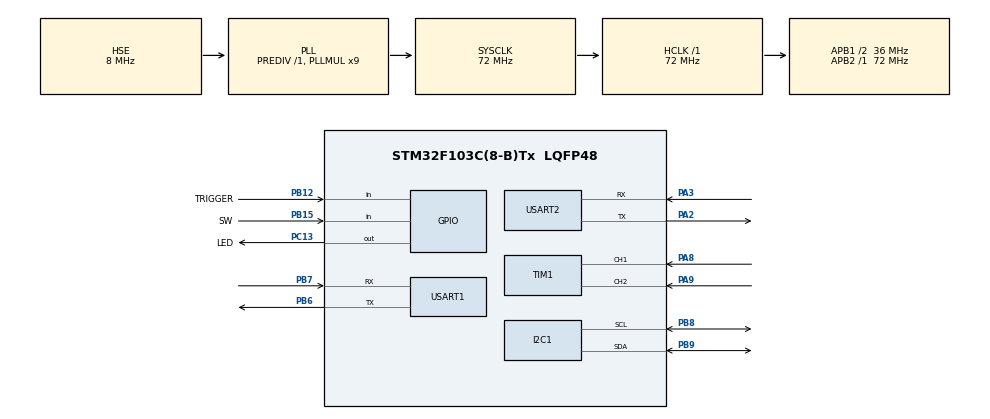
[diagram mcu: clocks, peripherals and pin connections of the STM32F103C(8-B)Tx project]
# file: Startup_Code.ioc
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Mcu.Family=STM32F1
Mcu.Name=STM32F103C(8-B)Tx
Mcu.Package=LQFP48
NVIC.PriorityGroup=NVIC_PRIORITYGROUP_4
PA13.Mode=Serial_Wire
PA13.Signal=SYS_JTMS-SWDIO
PA14.Mode=Serial_Wire
PA14.Signal=SYS_JTCK-SWCLK
PA2.Mode=Asynchronous
PA2.Signal=USART2_TX
PA3.Mode=Asynchronous
PA3.Signal=USART2_RX
PA8.Signal=S_TIM1_CH1
PA9.Signal=S_TIM1_CH2
PB12.GPIO_Label=TRIGGER
PB12.Signal=GPIO_Input
PB15.GPIO_Label=SW
PB15.Signal=GPIO_Input
PB6.Mode=Asynchronous
PB6.Signal=USART1_TX
PB7.Mode=Asynchronous
PB7.Signal=USART1_RX
PB8.Mode=I2C
PB8.Signal=I2C1_SCL
PB9.Mode=I2C
PB9.Signal=I2C1_SDA
PC13-TAMPER-RTC.GPIO_Label=LED
PC13-TAMPER-RTC.Signal=GPIO_Output
PC14-OSC32_IN.Mode=LSE-External-Oscillator
PC14-OSC32_IN.Signal=RCC_OSC32_IN
PC15-OSC32_OUT.Mode=LSE-External-Oscillator
PC15-OSC32_OUT.Signal=RCC_OSC32_OUT
PD0-OSC_IN.Mode=HSE-External-Oscillator
PD0-OSC_IN.Signal=RCC_OSC_IN
PD1-OSC_OUT.Mode=HSE-External-Oscillator
PD1-OSC_OUT.Signal=RCC_OSC_OUT
ProjectManager.HeapSize=0x200
ProjectManager.StackSize=0x400
ProjectManager.TargetToolchain=SW4STM32
RCC.AHBFreq_Value=72000000
RCC.APB1CLKDivider=RCC_HCLK_DIV2
RCC.APB1Freq_Value=36000000
RCC.APB1TimFreq_Value=72000000
RCC.APB2Freq_Value=72000000
RCC.APB2TimFreq_Value=72000000
RCC.HCLKFreq_Value=72000000
RCC.PLLMUL=RCC_PLL_MUL9
RCC.PLLSourceVirtual=RCC_PLLSOURCE_HSE
RCC.SYSCLKFreq_VALUE=72000000
RCC.SYSCLKSource=RCC_SYSCLKSOURCE_PLLCLK
RCC.USBFreq_Value=72000000
SH.S_TIM1_CH1.0=TIM1_CH1,Encoder_Interface
SH.S_TIM1_CH2.0=TIM1_CH2,Encoder_Interface
TIM1.EncoderMode=TIM_ENCODERMODE_TI12
USART1.VirtualMode=VM_ASYNC
USART2.VirtualMode=VM_ASYNC
board=custom

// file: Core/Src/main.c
/* USER CODE BEGIN Header */
/**
  ******************************************************************************
  * @file           : main.c
  * @brief          : Main program body
  ******************************************************************************
  * @attention
  *
  * <h2><center>&copy; Copyright (c) 2021 STMicroelectronics.
  * All rights reserved.</center></h2>
  *
  * This software component is licensed by ST under BSD 3-Clause license,
  * the "License"; You may not use this file except in compliance with the
  * License. You may obtain a copy of the License at:
  *                        opensource.org/licenses/BSD-3-Clause
  *
  ******************************************************************************
  */
/* USER CODE END Header */
#include "main.h"

/* USER CODE BEGIN Includes */
#include "OLED.h"
//#include "Images.h"
/* USER CODE END Includes */

/* USER CODE BEGIN PD */
#define AantalRotaties 8
/* USER CODE END PD */

I2C_HandleTypeDef hi2c1;

TIM_HandleTypeDef htim1;

UART_HandleTypeDef huart1;
UART_HandleTypeDef huart2;

/* USER CODE BEGIN PV */
#include <errno.h>
#include <sys/stat.h>
#include <sys/times.h>
#include <sys/unistd.h>
int _write(int file, char *ptr, int len) {
    HAL_StatusTypeDef xStatus;
    switch (file) {
    case STDOUT_FILENO: /*stdout*/
		xStatus = HAL_UART_Transmit(&huart2, (uint8_t*)ptr, len, HAL_MAX_DELAY);
		if (xStatus != HAL_OK) {
			errno = EIO;
			return -1;
		}
        break;
    case STDERR_FILENO: /* stderr */
		xStatus = HAL_UART_Transmit(&huart2, (uint8_t*)ptr, len, HAL_MAX_DELAY);
		if (xStatus != HAL_OK) {
			errno = EIO;
			return -1;
		}
        break;
    default:
        errno = EBADF;
        return -1;
    }
    return len;
}

volatile uint32_t tim1_cnt = 0;
volatile uint32_t direction;
/* USER CODE END PV */

void SystemClock_Config(void);
static void MX_GPIO_Init(void);
static void MX_I2C1_Init(void);
static void MX_TIM1_Init(void);
static void MX_USART2_UART_Init(void);
static void MX_USART1_UART_Init(void);

int main(void)
{

  /* MCU Configuration--------------------------------------------------------*/

  /* Reset of all peripherals, Initializes the Flash interface and the Systick. */
  HAL_Init();

  /* Configure the system clock */
  SystemClock_Config();

  /* Initialize all configured peripherals */
  MX_GPIO_Init();
  MX_I2C1_Init();
  MX_TIM1_Init();
  MX_USART2_UART_Init();
  MX_USART1_UART_Init();
  /* USER CODE BEGIN 2 */
  printf("Start Program \n\r");
    HAL_GPIO_WritePin(LED_GPIO_Port,LED_Pin,0);
    printf("Led aan \n\r");
    HAL_Delay(1000);

    uint8_t k;
    k = OLED_Init();
    if(k == 0)
    {
  	  HAL_GPIO_WritePin(LED_GPIO_Port,LED_Pin,1);//led uit
  	  printf("OLED IS NIET KLAAR!!!\n\r");
  	  HAL_Delay(1000);
    }
    else
    {
  	  printf("APPARAAT GEVONDEN!\r\n");
    }

    HAL_TIM_Encoder_Start(&htim1, TIM_CHANNEL_ALL);
    uint32_t rot_count = 0;
    uint8_t Select0 = 0;
    OLED_Clear();

    WelcomeScreen();

    while(HAL_GPIO_ReadPin(SW_GPIO_Port,SW_Pin) == 1 )
    {

    	//loop
    }
    OLED_Clear();
    DisplayMenu(Select0);
    OLED_UpdateScreen();

  /* USER CODE END 2 */

  /* Infinite loop */
  while (1)
  {

    /* USER CODE BEGIN 3 */

	  tim1_cnt = (htim1.Instance->CNT)/AantalRotaties;

	  if(rot_count != tim1_cnt)
	  {
		  if(rot_count > tim1_cnt)
		  {
			  Select0++;
			  if(Select0 > 3)
			  {
				  Select0 = 3;
			  }
		  }
		  else
		  {
			  Select0--;
			  if(Select0 < 0)
			  {
				  Select0 = 0;
			  }
		  }
		  rot_count = tim1_cnt;
		  //Displayen van een nieuw scherm want rotary waarde is veranderd
		  OLED_Fill(OLED_BLACK);
		  DisplayMenu(Select0);
		  OLED_UpdateScreen();
	  }

	  if(HAL_GPIO_ReadPin(SW_GPIO_Port, SW_Pin ) != 1 && Select0 != 0)
	  {
		  switch (Select0)
		  {
		  case 1:
			  //Optie 1 is gekozen
			  while(HAL_GPIO_ReadPin(SW_GPIO_Port,SW_Pin) == 1)
			  {
				  //Wanneer de switch button nogmaals wordt ingedrukt gaan we terug uit de optie
			  	  ShowGamePlayMenu();
			  }
			  break;
		  case 2:
			  //Optie 2 is gekozen
			  while(HAL_GPIO_ReadPin(SW_GPIO_Port,SW_Pin) == 1)
			  {
				  //Wanneer de switch button nogmaals wordt ingedrukt gaan we terug uit de optie

			  }
			  break;
		  case 3:
			  //Optie 3 is gekozen
			  while(HAL_GPIO_ReadPin(SW_GPIO_Port,SW_Pin) == 1)
			  {
				  //Wanneer de switch button nogmaals wordt ingedrukt gaan we terug uit de optie

			  }
			  break;
		  default:
			  //ERROR, mag eigenlijk niet voorkomen
			  break;
		  }

	  }
  }
  /* USER CODE END 3 */
}

void SystemClock_Config(void)
{
  RCC_OscInitTypeDef RCC_OscInitStruct = {0};
  RCC_ClkInitTypeDef RCC_ClkInitStruct = {0};

  /** Initializes the RCC Oscillators according to the specified parameters
  * in the RCC_OscInitTypeDef structure.
  */
  RCC_OscInitStruct.OscillatorType = RCC_OSCILLATORTYPE_HSE;
  RCC_OscInitStruct.HSEState = RCC_HSE_ON;
  RCC_OscInitStruct.HSEPredivValue = RCC_HSE_PREDIV_DIV1;
  RCC_OscInitStruct.HSIState = RCC_HSI_ON;
  RCC_OscInitStruct.PLL.PLLState = RCC_PLL_ON;
  RCC_OscInitStruct.PLL.PLLSource = RCC_PLLSOURCE_HSE;
  RCC_OscInitStruct.PLL.PLLMUL = RCC_PLL_MUL9;
  if (HAL_RCC_OscConfig(&RCC_OscInitStruct) != HAL_OK)
  {
    Error_Handler();
  }
  /** Initializes the CPU, AHB and APB buses clocks
  */
  RCC_ClkInitStruct.ClockType = RCC_CLOCKTYPE_HCLK|RCC_CLOCKTYPE_SYSCLK
                              |RCC_CLOCKTYPE_PCLK1|RCC_CLOCKTYPE_PCLK2;
  RCC_ClkInitStruct.SYSCLKSource = RCC_SYSCLKSOURCE_PLLCLK;
  RCC_ClkInitStruct.AHBCLKDivider = RCC_SYSCLK_DIV1;
  RCC_ClkInitStruct.APB1CLKDivider = RCC_HCLK_DIV2;
  RCC_ClkInitStruct.APB2CLKDivider = RCC_HCLK_DIV1;

  if (HAL_RCC_ClockConfig(&RCC_ClkInitStruct, FLASH_LATENCY_2) != HAL_OK)
  {
    Error_Handler();
  }
}

static void MX_I2C1_Init(void)
{

  hi2c1.Instance = I2C1;
  hi2c1.Init.ClockSpeed = 100000;
  hi2c1.Init.DutyCycle = I2C_DUTYCYCLE_2;
  hi2c1.Init.OwnAddress1 = 0;
  hi2c1.Init.AddressingMode = I2C_ADDRESSINGMODE_7BIT;
  hi2c1.Init.DualAddressMode = I2C_DUALADDRESS_DISABLE;
  hi2c1.Init.OwnAddress2 = 0;
  hi2c1.Init.GeneralCallMode = I2C_GENERALCALL_DISABLE;
  hi2c1.Init.NoStretchMode = I2C_NOSTRETCH_DISABLE;
  if (HAL_I2C_Init(&hi2c1) != HAL_OK)
  {
    Error_Handler();
  }

}

static void MX_TIM1_Init(void)
{

  TIM_Encoder_InitTypeDef sConfig = {0};
  TIM_MasterConfigTypeDef sMasterConfig = {0};

  htim1.Instance = TIM1;
  htim1.Init.Prescaler = 0;
  htim1.Init.CounterMode = TIM_COUNTERMODE_UP;
  htim1.Init.Period = 65535;
  htim1.Init.ClockDivision = TIM_CLOCKDIVISION_DIV1;
  htim1.Init.RepetitionCounter = 0;
  htim1.Init.AutoReloadPreload = TIM_AUTORELOAD_PRELOAD_DISABLE;
  sConfig.EncoderMode = TIM_ENCODERMODE_TI12;
  sConfig.IC1Polarity = TIM_ICPOLARITY_RISING;
  sConfig.IC1Selection = TIM_ICSELECTION_DIRECTTI;
  sConfig.IC1Prescaler = TIM_ICPSC_DIV1;
  sConfig.IC1Filter = 0;
  sConfig.IC2Polarity = TIM_ICPOLARITY_RISING;
  sConfig.IC2Selection = TIM_ICSELECTION_DIRECTTI;
  sConfig.IC2Prescaler = TIM_ICPSC_DIV1;
  sConfig.IC2Filter = 0;
  if (HAL_TIM_Encoder_Init(&htim1, &sConfig) != HAL_OK)
  {
    Error_Handler();
  }
  sMasterConfig.MasterOutputTrigger = TIM_TRGO_RESET;
  sMasterConfig.MasterSlaveMode = TIM_MASTERSLAVEMODE_DISABLE;
  if (HAL_TIMEx_MasterConfigSynchronization(&htim1, &sMasterConfig) != HAL_OK)
  {
    Error_Handler();
  }

}

static void MX_USART1_UART_Init(void)
{

  huart1.Instance = USART1;
  huart1.Init.BaudRate = 115200;
  huart1.Init.WordLength = UART_WORDLENGTH_8B;
  huart1.Init.StopBits = UART_STOPBITS_1;
  huart1.Init.Parity = UART_PARITY_NONE;
  huart1.Init.Mode = UART_MODE_TX_RX;
  huart1.Init.HwFlowCtl = UART_HWCONTROL_NONE;
  huart1.Init.OverSampling = UART_OVERSAMPLING_16;
  if (HAL_UART_Init(&huart1) != HAL_OK)
  {
    Error_Handler();
  }

}

static void MX_USART2_UART_Init(void)
{

  huart2.Instance = USART2;
  huart2.Init.BaudRate = 115200;
  huart2.Init.WordLength = UART_WORDLENGTH_8B;
  huart2.Init.StopBits = UART_STOPBITS_1;
  huart2.Init.Parity = UART_PARITY_NONE;
  huart2.Init.Mode = UART_MODE_TX_RX;
  huart2.Init.HwFlowCtl = UART_HWCONTROL_NONE;
  huart2.Init.OverSampling = UART_OVERSAMPLING_16;
  if (HAL_UART_Init(&huart2) != HAL_OK)
  {
    Error_Handler();
  }

}

static void MX_GPIO_Init(void)
{
  GPIO_InitTypeDef GPIO_InitStruct = {0};

  /* GPIO Ports Clock Enable */
  __HAL_RCC_GPIOC_CLK_ENABLE();
  __HAL_RCC_GPIOD_CLK_ENABLE();
  __HAL_RCC_GPIOA_CLK_ENABLE();
  __HAL_RCC_GPIOB_CLK_ENABLE();

  /*Configure GPIO pin Output Level */
  HAL_GPIO_WritePin(LED_GPIO_Port, LED_Pin, GPIO_PIN_RESET);

  /*Configure GPIO pin : LED_Pin */
  GPIO_InitStruct.Pin = LED_Pin;
  GPIO_InitStruct.Mode = GPIO_MODE_OUTPUT_PP;
  GPIO_InitStruct.Pull = GPIO_NOPULL;
  GPIO_InitStruct.Speed = GPIO_SPEED_FREQ_LOW;
  HAL_GPIO_Init(LED_GPIO_Port, &GPIO_InitStruct);

  /*Configure GPIO pins : TRIGGER_Pin SW_Pin */
  GPIO_InitStruct.Pin = TRIGGER_Pin|SW_Pin;
  GPIO_InitStruct.Mode = GPIO_MODE_INPUT;
  GPIO_InitStruct.Pull = GPIO_NOPULL;
  HAL_GPIO_Init(GPIOB, &GPIO_InitStruct);

}

void Error_Handler(void)
{
}

/************************ (C) COPYRIGHT STMicroelectronics *****END OF FILE****/
